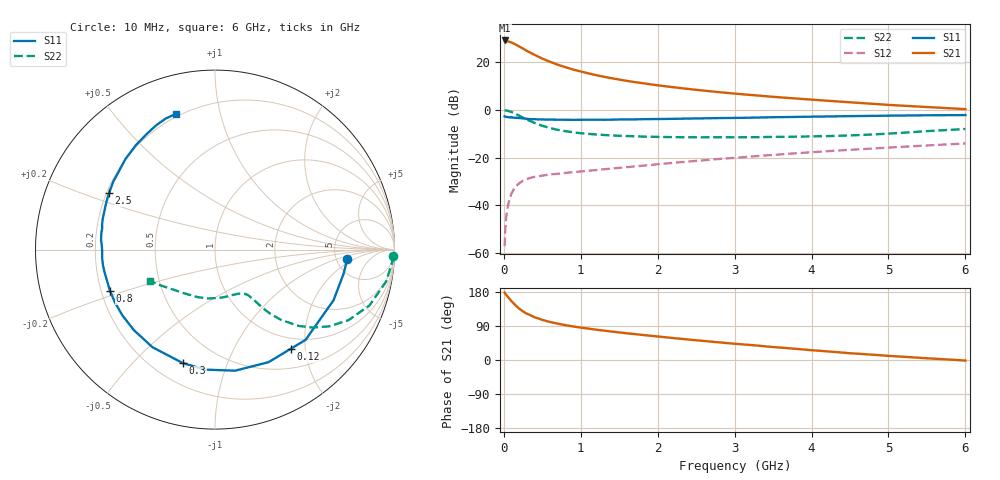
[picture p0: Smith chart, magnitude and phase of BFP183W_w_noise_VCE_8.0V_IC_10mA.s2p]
! Infineon Technologies  Discrete & RF Semiconductors
! BFP183W
! VCE =  8.0 V,  IC =  10 mA
! Common Emitter S-Parameters:  Jan 2017
# GHz  S  MA  R  50
!  f  S11  S21  S12  S22
! GHz  MAG  ANG  MAG  ANG  MAG  ANG  MAG  ANG
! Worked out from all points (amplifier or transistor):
!   77 points, 10 MHz to 6 GHz, reference 50 ohm
!   highest |S21| = 29.2 dB at 10 MHz (marker M1)
!   |S21| within 3 dB of that: start of sweep to 226.1 MHz
!   unconditionally stable (mu >= 1): 1.659 GHz to 3.879 GHz
!   at 130 MHz: K = 0.14, MSG = 30.5 dB, |S12| = -33.2 dB
!   at 2.2 GHz: K = 1.06, MAG = 14.4 dB, |S12| = -22.1 dB
!   at 6 GHz: K = 0.84, MSG = 7.2 dB, |S12| = -14.0 dB
!   lowest NFmin = 0.92 dB at 450 MHz
!   S11 on the Smith chart (normalised r, x): 10 MHz: 6.36, -1.41; 120 MHz: 0.81, -1.73; 300 MHz: 0.32, -0.71; 800 MHz: 0.24, -0.18; 2.5 GHz: 0.21, +0.24; 6 GHz: 0.19, +0.74
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0.01  0.7395 -3.9  28.96 177.9  0.0014 82.1  0.9931 -2.1
0.02  0.7288 -10.7  28.81 174.5  0.0034 84.2  0.9887 -4.3
0.05  0.7183 -23.1  27.9 167.1  0.0093 78.3  0.9705 -10.5
0.1  0.7125 -44.9  26.25 155.1  0.0179 70.9  0.9152 -19.9
0.12  0.6953 -52.6  25.25 151.1  0.0205 66.1  0.8834 -22.9
0.15  0.6944 -64.6  24.02 144.6  0.0247 60.9  0.8409 -27.9
0.2  0.6839 -80.6  21.66 135.5  0.0292 55.6  0.7652 -34.0
0.25  0.6707 -94.5  19.5 128.0  0.0332 49.9  0.6947 -38.7
0.3  0.6575 -105.7  17.49 122.1  0.036 46.1  0.6323 -42.3
0.4  0.6459 -122.7  14.4 112.7  0.04 41.4  0.5366 -46.8
0.5  0.6368 -135.2  12.05 105.9  0.0423 39.1  0.4692 -49.3
0.6  0.633 -144.7  10.33 100.4  0.0448 38.3  0.4217 -50.7
0.8  0.6288 -158.5  7.966 91.9  0.0482 39.4  0.3622 -52.1
0.9  0.6259 -163.6  7.119 88.6  0.0501 39.2  0.3431 -52.8
1.1  0.6302 -172.1  5.899 82.8  0.0535 41.0  0.3177 -53.8
1.5  0.6372 175.1  4.371 72.8  0.0617 44.7  0.2896 -57.6
2.1  0.6536 160.1  3.17 60.0  0.0757 48.5  0.2728 -66.7
2.5  0.669 151.8  2.67 52.1  0.0861 49.8  0.2694 -74.9
3.1  0.6903 141.0  2.155 41.3  0.1028 50.3  0.2695 -88.3
4.1  0.7328 125.9  1.618 24.4  0.1341 48.5  0.2831 -112.5
5.1  0.7683 114.4  1.262 9.7  0.1672 44.7  0.3288 -138.3
6  0.7871 106.1  1.05 -1.5  0.2001 39.6  0.4024 -154.5
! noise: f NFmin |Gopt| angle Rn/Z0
0.45  0.92  0.1  112  0.11
0.9  0.97  0.18  144  0.09
1.9  1.47  0.37  -176  0.07
2.4  1.72  0.44  -167  0.09
